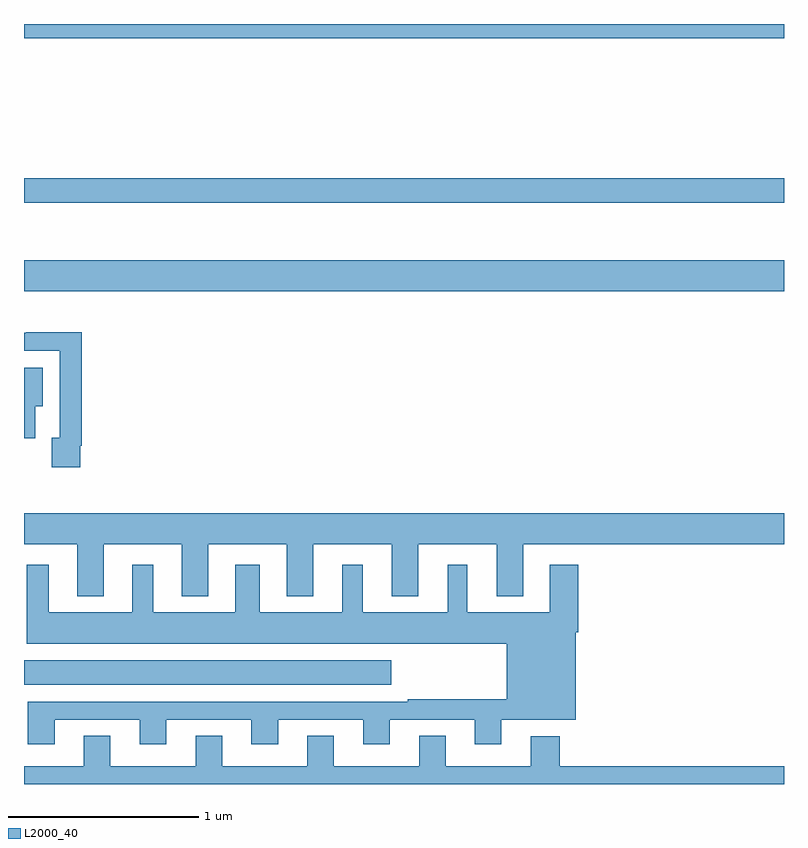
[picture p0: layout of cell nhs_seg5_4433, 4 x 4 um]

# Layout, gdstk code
import gdstk
lib = gdstk.Library(unit=1e-6, precision=1e-09)
def R(c, l, rs):  # rectangles x0, y0, x1, y1
    for r in rs: c.add(gdstk.rectangle(r[:2], r[2:], *l))
def P(c, l, *ps):  # polygons
    for p in ps: c.add(gdstk.Polygon(p, *l))
L2000_40 = (2000, 40)

nhs_seg5_4433 = lib.new_cell('nhs_seg5_4433')
R(nhs_seg5_4433, L2000_40, [(371,889.322,372.934,889.45), (371,891.392,375,891.556), (371,891.858,375,891.986), (371,892.724,375,892.799)])
P(nhs_seg5_4433, L2000_40, [(371.296,890.578),(371.303,890.578),(371.303,891.176),(371.011,891.176),(371.011,891.174),(371,891.174),(371,891.078),(371.187,891.078),(371.187,890.622),(371.147,890.622),(371.147,890.466),(371.296,890.466)],
  [(371.059,890.786),(371.098,890.786),(371.098,890.989),(371,890.989),(371,890.618),(371.059,890.618)],
  [(371.419,890.06),(371.831,890.06),(371.831,889.787),(371.971,889.787),(371.971,890.06),(372.383,890.06),(372.383,889.787),(372.523,889.787),(372.523,890.06),(372.935,890.06),(372.935,889.787),(373.075,889.787),(373.075,890.06),(373.487,890.06),(373.487,889.787),(373.627,889.787),(373.627,890.06),(375,890.06),(375,890.224),(371,890.224),(371,890.06),(371.279,890.06),(371.279,889.787),(371.419,889.787)],
  [(371.161,889.137),(371.609,889.137),(371.609,889.008),(371.749,889.008),(371.749,889.137),(372.197,889.137),(372.197,889.008),(372.337,889.008),(372.337,889.137),(372.785,889.137),(372.785,889.008),(372.925,889.008),(372.925,889.137),(373.373,889.137),(373.373,889.008),(373.513,889.008),(373.513,889.136),(373.903,889.136),(373.903,889.598),(373.916,889.598),(373.916,889.954),(373.766,889.954),(373.766,889.702),(373.333,889.702),(373.333,889.954),(373.229,889.954),(373.229,889.702),(372.784,889.702),(372.784,889.954),(372.674,889.954),(372.674,889.702),(372.241,889.702),(372.241,889.954),(372.113,889.954),(372.113,889.702),(371.68,889.702),(371.68,889.954),(371.57,889.954),(371.57,889.702),(371.131,889.702),(371.131,889.954),(371.015,889.954),(371.015,889.538),(373.541,889.538),(373.541,889.246),(373.021,889.246),(373.021,889.233),(371.021,889.233),(371.021,889.008),(371.161,889.008)],
  [(375,888.892),(373.82,888.892),(373.82,889.051),(373.667,889.051),(373.667,888.892),(373.219,888.892),(373.219,889.052),(373.079,889.052),(373.079,888.892),(372.631,888.892),(372.631,889.052),(372.491,889.052),(372.491,888.892),(372.043,888.892),(372.043,889.052),(371.903,889.052),(371.903,888.892),(371.455,888.892),(371.455,889.052),(371.315,889.052),(371.315,888.892),(371,888.892),(371,888.799),(375,888.799)])

lib.write_gds('nhs_seg5_4433.gds')
